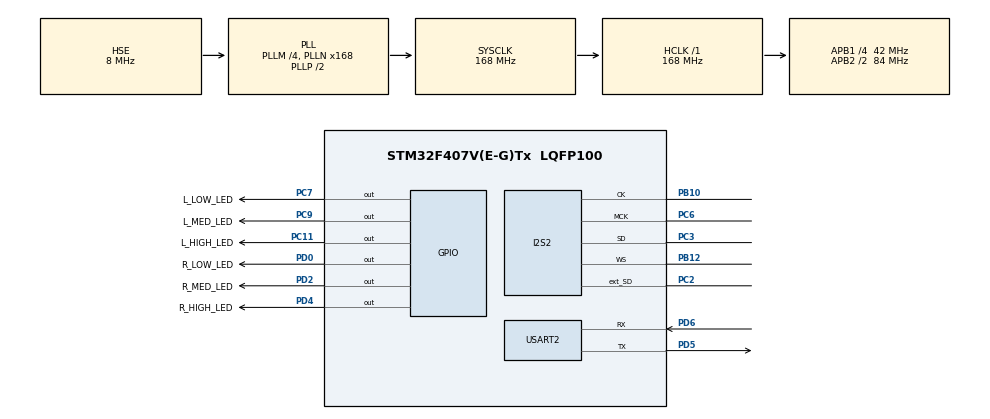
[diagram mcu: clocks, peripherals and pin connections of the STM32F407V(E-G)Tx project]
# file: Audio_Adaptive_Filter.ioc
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Dma.I2S2_EXT_RX.0.Direction=DMA_PERIPH_TO_MEMORY
Dma.I2S2_EXT_RX.0.FIFOMode=DMA_FIFOMODE_DISABLE
Dma.I2S2_EXT_RX.0.Instance=DMA1_Stream3
Dma.I2S2_EXT_RX.0.MemDataAlignment=DMA_MDATAALIGN_HALFWORD
Dma.I2S2_EXT_RX.0.MemInc=DMA_MINC_ENABLE
Dma.I2S2_EXT_RX.0.Mode=DMA_CIRCULAR
Dma.I2S2_EXT_RX.0.PeriphDataAlignment=DMA_PDATAALIGN_HALFWORD
Dma.I2S2_EXT_RX.0.PeriphInc=DMA_PINC_DISABLE
Dma.I2S2_EXT_RX.0.Priority=DMA_PRIORITY_VERY_HIGH
Dma.Request0=I2S2_EXT_RX
Dma.Request1=SPI2_TX
Dma.Request2=USART2_RX
Dma.SPI2_TX.1.Direction=DMA_MEMORY_TO_PERIPH
Dma.SPI2_TX.1.FIFOMode=DMA_FIFOMODE_DISABLE
Dma.SPI2_TX.1.Instance=DMA1_Stream4
Dma.SPI2_TX.1.MemDataAlignment=DMA_MDATAALIGN_HALFWORD
Dma.SPI2_TX.1.MemInc=DMA_MINC_ENABLE
Dma.SPI2_TX.1.Mode=DMA_CIRCULAR
Dma.SPI2_TX.1.PeriphDataAlignment=DMA_PDATAALIGN_HALFWORD
Dma.SPI2_TX.1.PeriphInc=DMA_PINC_DISABLE
Dma.SPI2_TX.1.Priority=DMA_PRIORITY_VERY_HIGH
Dma.USART2_RX.2.Direction=DMA_PERIPH_TO_MEMORY
Dma.USART2_RX.2.FIFOMode=DMA_FIFOMODE_DISABLE
Dma.USART2_RX.2.Instance=DMA1_Stream5
Dma.USART2_RX.2.MemDataAlignment=DMA_MDATAALIGN_BYTE
Dma.USART2_RX.2.MemInc=DMA_MINC_ENABLE
Dma.USART2_RX.2.Mode=DMA_CIRCULAR
Dma.USART2_RX.2.PeriphDataAlignment=DMA_PDATAALIGN_BYTE
Dma.USART2_RX.2.PeriphInc=DMA_PINC_DISABLE
Dma.USART2_RX.2.Priority=DMA_PRIORITY_LOW
I2S2.AudioFreq=I2S_AUDIOFREQ_48K
I2S2.DataFormat=I2S_DATAFORMAT_24B
I2S2.ErrorAudioFreq=-0.01 %
I2S2.FullDuplexMode=I2S_FULLDUPLEXMODE_ENABLE
I2S2.Instance=SPI$Index
I2S2.RealAudioFreq=47.991 KHz
I2S2.VirtualMode=I2S_MODE_MASTER
Mcu.Family=STM32F4
Mcu.Name=STM32F407V(E-G)Tx
Mcu.Package=LQFP100
NVIC.DMA1_Stream3_IRQn=true\:0\:0\:false\:false\:true\:false\:true\:true
NVIC.DMA1_Stream4_IRQn=true\:0\:0\:false\:false\:true\:false\:true\:true
NVIC.DMA1_Stream5_IRQn=true\:0\:0\:false\:false\:true\:false\:true\:true
NVIC.PriorityGroup=NVIC_PRIORITYGROUP_4
NVIC.USART2_IRQn=true\:0\:0\:false\:false\:true\:true\:true\:true
PA13.Mode=Serial_Wire
PA13.Signal=SYS_JTMS-SWDIO
PA14.Mode=Serial_Wire
PA14.Signal=SYS_JTCK-SWCLK
PB10.Mode=Full_Duplex_Master
PB10.Signal=I2S2_CK
PB12.Mode=Full_Duplex_Master
PB12.Signal=I2S2_WS
PC11.GPIO_Label=L_HIGH_LED
PC11.Signal=GPIO_Output
PC2.Mode=Full_Duplex_Master
PC2.Signal=I2S2_ext_SD
PC3.Mode=Full_Duplex_Master
PC3.Signal=I2S2_SD
PC6.Mode=Master_Clock_Activated
PC6.Signal=I2S2_MCK
PC7.GPIO_Label=L_LOW_LED
PC7.Signal=GPIO_Output
PC9.GPIO_Label=L_MED_LED
PC9.Signal=GPIO_Output
PD0.GPIO_Label=R_LOW_LED
PD0.Signal=GPIO_Output
PD2.GPIO_Label=R_MED_LED
PD2.Signal=GPIO_Output
PD4.GPIO_Label=R_HIGH_LED
PD4.Signal=GPIO_Output
PD5.Mode=Asynchronous
PD5.Signal=USART2_TX
PD6.Mode=Asynchronous
PD6.Signal=USART2_RX
PH0-OSC_IN.Mode=HSE-External-Oscillator
PH0-OSC_IN.Signal=RCC_OSC_IN
PH1-OSC_OUT.Mode=HSE-External-Oscillator
PH1-OSC_OUT.Signal=RCC_OSC_OUT
ProjectManager.HeapSize=0x200
ProjectManager.StackSize=0x400
ProjectManager.TargetToolchain=STM32CubeIDE
RCC.48MHZClocksFreq_Value=84000000
RCC.AHBFreq_Value=168000000
RCC.APB1CLKDivider=RCC_HCLK_DIV4
RCC.APB1Freq_Value=42000000
RCC.APB1TimFreq_Value=84000000
RCC.APB2CLKDivider=RCC_HCLK_DIV2
RCC.APB2Freq_Value=84000000
RCC.APB2TimFreq_Value=168000000
RCC.CortexFreq_Value=168000000
RCC.HCLKFreq_Value=168000000
RCC.HSE_VALUE=8000000
RCC.HSI_VALUE=16000000
RCC.LSE_VALUE=32768
RCC.PLLI2SN=86
RCC.PLLM=4
RCC.PLLN=168
RCC.PLLSourceVirtual=RCC_PLLSOURCE_HSE
RCC.SYSCLKFreq_VALUE=168000000
RCC.SYSCLKSource=RCC_SYSCLKSOURCE_PLLCLK
RCC.VCOOutputFreq_Value=336000000
USART2.VirtualMode=VM_ASYNC
board=custom

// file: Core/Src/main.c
/* USER CODE BEGIN Header */
/**
 ******************************************************************************
 * @file           : main.c
 * @brief          : Main program body
 ******************************************************************************
 * @attention
 *
 * Copyright (c) 2022 STMicroelectronics.
 * All rights reserved.
 *
 * This software is licensed under terms that can be found in the LICENSE file
 * in the root directory of this software component.
 * If no LICENSE file comes with this software, it is provided AS-IS.
 *
 ******************************************************************************
 */
/* USER CODE END Header */
#include "main.h"

/* USER CODE BEGIN Includes */

//CMSIS Library
#define ARM_MATH_CM4	//Must be defined here
#include "arm_math.h"

//FLASH Library
#include "MY_FLASH.h"

//Other includes
#include "math.h"
#include <string.h>
#include "stdio.h"
/* USER CODE END Includes */

/* USER CODE BEGIN PD */

//Numeric constants
#define CONST_MAX_INT 2147483648.0f	//2^31

//Machine state flags
#define STOP 0
#define ADAPT 1
#define FILTER 2
#define LOOPBACK 3

//Number of filter coefficients
#define FILTER_TAP_NUM 128

//Buffer size
#define BLOCK_SIZE_FLOAT 512
#define BLOCK_SIZE_U16 4*BLOCK_SIZE_FLOAT  //Since we are working with 2 channels, and each 32 bit word is divided in 2 words of 16 bits

//Vumeter levels
#define MAX_VOLUME_LEVEL 0.33f
#define HIGH_THRESHOLD 0.95*MAX_VOLUME_LEVEL
#define MED_THRESHOLD 0.18*MAX_VOLUME_LEVEL
#define LOW_THRESHOLD 0.01*MAX_VOLUME_LEVEL

//FLASH
#define FLASH_SECTOR 11
#define FLASH_START_ADRESS  0x080E0000

/* USER CODE END PD */

 I2S_HandleTypeDef hi2s2;
DMA_HandleTypeDef hdma_i2s2_ext_rx;
DMA_HandleTypeDef hdma_spi2_tx;

UART_HandleTypeDef huart2;
DMA_HandleTypeDef hdma_usart2_rx;

/* USER CODE BEGIN PV */

//Machine state variables
uint8_t state=STOP;

//I2S VARIABLES

uint16_t rxBuf[BLOCK_SIZE_U16 * 2];	//Input buffer
uint16_t txBuf[BLOCK_SIZE_U16 * 2];	//Output buffer
float l_buf_in[BLOCK_SIZE_FLOAT * 2];	//Float left input buffer
float r_buf_in[BLOCK_SIZE_FLOAT * 2];	//Float right input buffer
float l_buf_out[BLOCK_SIZE_FLOAT * 2];	//Float left output buffer
float r_buf_out[BLOCK_SIZE_FLOAT * 2];	//Float right output buffer
uint8_t callback_state = 0;	//Allows circular buffer

//I2S data pointers
int offset_r_ptr;	//uint_16 buffer read pointer
int offset_w_ptr, w_ptr;	//float buffer write pointer

//GENERAL FILTER VARIABLES

static float filter_taps[FILTER_TAP_NUM] = { 0 };	//Filter coefficients array

//ADAPTIVE FILTER VARIABLES

arm_lms_norm_instance_f32 adaptive_filter;	//Adaptive filter instance
float mu = 0.001f;	//Mu step of adaptive filter
float mse=0;	//Mean Square Error
float filter_state[BLOCK_SIZE_FLOAT + FILTER_TAP_NUM - 1];	//Adaptive filter state (size is always number_of_samples + number_of_fir_tabs - 1)

//FIR FILTER VARIABLES

arm_fir_instance_f32 firsettings_l, firsettings_r;
float fir_l_state[BLOCK_SIZE_FLOAT + FILTER_TAP_NUM - 1];	//Fir state size is always number_of_samples + number_of_fir_tabs - 1
float fir_r_state[BLOCK_SIZE_FLOAT + FILTER_TAP_NUM - 1];	//Fir state size is always number_of_samples + number_of_fir_tabs - 1

//UART VARIABLES

uint8_t uart_buffer_tx[16];	//UART Tx buffer
uint8_t uart_buffer_rx[32] = {0};	//UART Rx buffer
uint8_t received_command[] = "";
uint8_t rxByte;
uint16_t rxIdx;
uint8_t rxFlag;

float rms_test;

/* USER CODE END PV */

void SystemClock_Config(void);
static void MX_GPIO_Init(void);
static void MX_DMA_Init(void);
static void MX_I2S2_Init(void);
static void MX_USART2_UART_Init(void);
/* USER CODE BEGIN PFP */
void receiveString(void);
void interpretCommand(void);
void AudioProcess(void);
void TransmitCoefs(void);
void AdaptInit(void);
void FilterInit(void);
void Stop(void);
void Adapt(void);
void Filter(void);
void Loopback(void);
void vumeterR(void);
void vumeterL(void);
/* USER CODE END PFP */

int main(void)
{

  /* MCU Configuration--------------------------------------------------------*/

  /* Reset of all peripherals, Initializes the Flash interface and the Systick. */
  HAL_Init();

  /* Configure the system clock */
  SystemClock_Config();

  /* Initialize all configured peripherals */
  MX_GPIO_Init();
  MX_DMA_Init();
  MX_I2S2_Init();
  MX_USART2_UART_Init();
  /* USER CODE BEGIN 2 */

  //Wait for other devices to initialize
  HAL_Delay(1000);

  //Define FLASH area
  MY_FLASH_SetSectorAddrs(FLASH_SECTOR, FLASH_START_ADRESS);

  //Start i2s with 2048 samples transmission => 4096*u16 words
  HAL_I2SEx_TransmitReceive_DMA(&hi2s2, txBuf, rxBuf, BLOCK_SIZE_U16);

  //Start UART Rx
  __HAL_UART_FLUSH_DRREGISTER(&huart2);
  HAL_UART_Receive_DMA(&huart2, &rxByte, 1);

  /* USER CODE END 2 */

  /* Infinite loop */
  /* USER CODE BEGIN WHILE */
  while (1)
  {
	  if (callback_state != 0)
	  {
		  AudioProcess();
	  }

    /* USER CODE END WHILE */

	}
}

void SystemClock_Config(void)
{
  RCC_OscInitTypeDef RCC_OscInitStruct = {0};
  RCC_ClkInitTypeDef RCC_ClkInitStruct = {0};

  /** Configure the main internal regulator output voltage
  */
  __HAL_RCC_PWR_CLK_ENABLE();
  __HAL_PWR_VOLTAGESCALING_CONFIG(PWR_REGULATOR_VOLTAGE_SCALE1);

  /** Initializes the RCC Oscillators according to the specified parameters
  * in the RCC_OscInitTypeDef structure.
  */
  RCC_OscInitStruct.OscillatorType = RCC_OSCILLATORTYPE_HSE;
  RCC_OscInitStruct.HSEState = RCC_HSE_ON;
  RCC_OscInitStruct.PLL.PLLState = RCC_PLL_ON;
  RCC_OscInitStruct.PLL.PLLSource = RCC_PLLSOURCE_HSE;
  RCC_OscInitStruct.PLL.PLLM = 4;
  RCC_OscInitStruct.PLL.PLLN = 168;
  RCC_OscInitStruct.PLL.PLLP = RCC_PLLP_DIV2;
  RCC_OscInitStruct.PLL.PLLQ = 4;
  if (HAL_RCC_OscConfig(&RCC_OscInitStruct) != HAL_OK)
  {
    Error_Handler();
  }

  /** Initializes the CPU, AHB and APB buses clocks
  */
  RCC_ClkInitStruct.ClockType = RCC_CLOCKTYPE_HCLK|RCC_CLOCKTYPE_SYSCLK
                              |RCC_CLOCKTYPE_PCLK1|RCC_CLOCKTYPE_PCLK2;
  RCC_ClkInitStruct.SYSCLKSource = RCC_SYSCLKSOURCE_PLLCLK;
  RCC_ClkInitStruct.AHBCLKDivider = RCC_SYSCLK_DIV1;
  RCC_ClkInitStruct.APB1CLKDivider = RCC_HCLK_DIV4;
  RCC_ClkInitStruct.APB2CLKDivider = RCC_HCLK_DIV2;

  if (HAL_RCC_ClockConfig(&RCC_ClkInitStruct, FLASH_LATENCY_5) != HAL_OK)
  {
    Error_Handler();
  }
}

static void MX_I2S2_Init(void)
{

  hi2s2.Instance = SPI2;
  hi2s2.Init.Mode = I2S_MODE_MASTER_TX;
  hi2s2.Init.Standard = I2S_STANDARD_PHILIPS;
  hi2s2.Init.DataFormat = I2S_DATAFORMAT_24B;
  hi2s2.Init.MCLKOutput = I2S_MCLKOUTPUT_ENABLE;
  hi2s2.Init.AudioFreq = I2S_AUDIOFREQ_48K;
  hi2s2.Init.CPOL = I2S_CPOL_LOW;
  hi2s2.Init.ClockSource = I2S_CLOCK_PLL;
  hi2s2.Init.FullDuplexMode = I2S_FULLDUPLEXMODE_ENABLE;
  if (HAL_I2S_Init(&hi2s2) != HAL_OK)
  {
    Error_Handler();
  }

}

static void MX_USART2_UART_Init(void)
{

  huart2.Instance = USART2;
  huart2.Init.BaudRate = 115200;
  huart2.Init.WordLength = UART_WORDLENGTH_8B;
  huart2.Init.StopBits = UART_STOPBITS_1;
  huart2.Init.Parity = UART_PARITY_NONE;
  huart2.Init.Mode = UART_MODE_TX_RX;
  huart2.Init.HwFlowCtl = UART_HWCONTROL_NONE;
  huart2.Init.OverSampling = UART_OVERSAMPLING_16;
  if (HAL_UART_Init(&huart2) != HAL_OK)
  {
    Error_Handler();
  }

}

static void MX_DMA_Init(void)
{

  /* DMA controller clock enable */
  __HAL_RCC_DMA1_CLK_ENABLE();

  /* DMA interrupt init */
  /* DMA1_Stream3_IRQn interrupt configuration */
  HAL_NVIC_SetPriority(DMA1_Stream3_IRQn, 0, 0);
  HAL_NVIC_EnableIRQ(DMA1_Stream3_IRQn);
  /* DMA1_Stream4_IRQn interrupt configuration */
  HAL_NVIC_SetPriority(DMA1_Stream4_IRQn, 0, 0);
  HAL_NVIC_EnableIRQ(DMA1_Stream4_IRQn);
  /* DMA1_Stream5_IRQn interrupt configuration */
  HAL_NVIC_SetPriority(DMA1_Stream5_IRQn, 0, 0);
  HAL_NVIC_EnableIRQ(DMA1_Stream5_IRQn);

}

static void MX_GPIO_Init(void)
{
  GPIO_InitTypeDef GPIO_InitStruct = {0};

  /* GPIO Ports Clock Enable */
  __HAL_RCC_GPIOH_CLK_ENABLE();
  __HAL_RCC_GPIOC_CLK_ENABLE();
  __HAL_RCC_GPIOB_CLK_ENABLE();
  __HAL_RCC_GPIOA_CLK_ENABLE();
  __HAL_RCC_GPIOD_CLK_ENABLE();

  /*Configure GPIO pin Output Level */
  HAL_GPIO_WritePin(GPIOC, L_LOW_LED_Pin|L_MED_LED_Pin|L_HIGH_LED_Pin, GPIO_PIN_RESET);

  /*Configure GPIO pin Output Level */
  HAL_GPIO_WritePin(GPIOD, R_LOW_LED_Pin|R_MED_LED_Pin|R_HIGH_LED_Pin, GPIO_PIN_RESET);

  /*Configure GPIO pins : L_LOW_LED_Pin L_MED_LED_Pin L_HIGH_LED_Pin */
  GPIO_InitStruct.Pin = L_LOW_LED_Pin|L_MED_LED_Pin|L_HIGH_LED_Pin;
  GPIO_InitStruct.Mode = GPIO_MODE_OUTPUT_PP;
  GPIO_InitStruct.Pull = GPIO_NOPULL;
  GPIO_InitStruct.Speed = GPIO_SPEED_FREQ_LOW;
  HAL_GPIO_Init(GPIOC, &GPIO_InitStruct);

  /*Configure GPIO pins : R_LOW_LED_Pin R_MED_LED_Pin R_HIGH_LED_Pin */
  GPIO_InitStruct.Pin = R_LOW_LED_Pin|R_MED_LED_Pin|R_HIGH_LED_Pin;
  GPIO_InitStruct.Mode = GPIO_MODE_OUTPUT_PP;
  GPIO_InitStruct.Pull = GPIO_NOPULL;
  GPIO_InitStruct.Speed = GPIO_SPEED_FREQ_LOW;
  HAL_GPIO_Init(GPIOD, &GPIO_InitStruct);

}

/* USER CODE BEGIN 4 */
void HAL_I2SEx_TxRxHalfCpltCallback(I2S_HandleTypeDef *hi2s) {

	callback_state = 1;
}

void HAL_I2SEx_TxRxCpltCallback(I2S_HandleTypeDef *hi2s) {

	callback_state = 2;
}

void HAL_UART_TxCpltCallback(UART_HandleTypeDef *huart)
{
	if (state==ADAPT)
	{
		sprintf((char *)uart_buffer_tx,"&%.5f#\n",mse);	//Copy new MSE in UART buffer
		HAL_UART_Transmit_IT(&huart2, uart_buffer_tx, strlen((char *) uart_buffer_tx));
	}
}

void HAL_UART_RxCpltCallback(UART_HandleTypeDef *huart)
{
	if (huart->Instance == USART2) {
		__HAL_UART_FLUSH_DRREGISTER(&huart2);
		if (rxByte == '#' || rxIdx >= 31)
		{
			uart_buffer_rx[rxIdx] = rxByte;
			receiveString();
			interpretCommand();
			for (int i = 0; i < 24; i++)
				uart_buffer_rx[i] = 0;
			rxIdx = 0;
		}
		else
		{
			uart_buffer_rx[rxIdx] = rxByte;
			rxIdx++;
		}
	}
}

void receiveString()
{
	char *p1, *p2;
	p1 = strstr((char*)uart_buffer_rx, "%");
	if (p1) {
		p2 = strstr(p1, "#");
		if (p2)
			snprintf((char*)received_command, p2 - p1 + 1, "%.*s", (int) (p2 - p1 - 1), (p1 + 1));
	}
}

void interpretCommand()
{
    if (strcmp((char*)received_command,"ST")==0)
    {
    	state=STOP;
    }
    else if (strcmp((char*)received_command,"AF")==0)
    {
    	mu=0.001f;
    	AdaptInit();
    	state=ADAPT;
    }
    else if (strcmp((char*)received_command,"AS")==0)
    {
    	mu=0.0001f;
		AdaptInit();
		state=ADAPT;
    }
    else if (strcmp((char*)received_command,"SV")==0)
	{
    	MY_FLASH_WriteN(0, filter_taps, FILTER_TAP_NUM, DATA_TYPE_32);
	}
    else if (strcmp((char*)received_command,"FI")==0)
    {
    	state=FILTER;
    	FilterInit();
    }
    else if (strcmp((char*)received_command,"LB")==0)
	{
		state=LOOPBACK;
	}
}

void AdaptInit()
{
	mse=0;

	for (int i=0; i<FILTER_TAP_NUM; i++)
	{
		filter_taps[i]=0;
	}

	//Init adaptive filter structure
	arm_lms_norm_init_f32(&adaptive_filter, FILTER_TAP_NUM, &filter_taps[0], &filter_state[0], mu, BLOCK_SIZE_FLOAT);

	//Initiate MSE transmission
	sprintf((char *)uart_buffer_tx,"&%.5f#\n",mse);
	HAL_UART_Transmit_IT(&huart2, uart_buffer_tx, strlen((char *) uart_buffer_tx));
}

void FilterInit()
{
	//Read filter stored value
	MY_FLASH_ReadN(0, filter_taps, FILTER_TAP_NUM, DATA_TYPE_32);

	//Init FIR structure
	arm_fir_init_f32(&firsettings_l, FILTER_TAP_NUM, &filter_taps[0], &fir_l_state[0], BLOCK_SIZE_FLOAT);
	arm_fir_init_f32(&firsettings_r, FILTER_TAP_NUM, &filter_taps[0], &fir_r_state[0], BLOCK_SIZE_FLOAT);
}

void AudioProcess()
{
	//Decide if it was half or cplt callback
	if (callback_state == 1)	//First half of the buffer
	{
		offset_r_ptr = 0;
		offset_w_ptr = 0;
		w_ptr = 0;
	}
	else if (callback_state == 2) 	//Second half of the buffer
	{
		offset_r_ptr = BLOCK_SIZE_U16;
		offset_w_ptr = BLOCK_SIZE_FLOAT;
		w_ptr = BLOCK_SIZE_FLOAT;
	}

	//Restore input sample buffer to float array
	for (int i = offset_r_ptr; i < offset_r_ptr + BLOCK_SIZE_U16; i = i + 4)
	{
		l_buf_in[w_ptr] = ((float) ((int) (rxBuf[i] << 16) | rxBuf[i + 1]))/CONST_MAX_INT;
		r_buf_in[w_ptr] = ((float) ((int) (rxBuf[i + 2] << 16) | rxBuf[i + 3]))/CONST_MAX_INT;
		w_ptr++;
	}

	vumeterR();
	vumeterL();
	arm_rms_f32 (&l_buf_in[offset_w_ptr], BLOCK_SIZE_FLOAT, &rms_test);

	switch (state)
	{
	case STOP: Stop();
		break;
	case ADAPT:	Adapt();
		break;
	case FILTER: Filter();
		break;
	case LOOPBACK: Loopback();
		break;
	default:
		break;
	}

	//Restore processed float-array to output sample-buffer
	w_ptr = offset_w_ptr;

	//Write I2S output buffer
	for (int i = offset_r_ptr; i < offset_r_ptr + BLOCK_SIZE_U16; i = i + 4)
	{
		l_buf_out[w_ptr]=l_buf_out[w_ptr]*CONST_MAX_INT;
		r_buf_out[w_ptr]=r_buf_out[w_ptr]*CONST_MAX_INT;

		txBuf[i] = (((int) l_buf_out[w_ptr]) >> 16) & 0xFFFF;
		txBuf[i + 1] = ((int) l_buf_out[w_ptr]) & 0xFFFF;
		txBuf[i + 2] = (((int) r_buf_out[w_ptr]) >> 16) & 0xFFFF;
		txBuf[i + 3] = ((int) r_buf_out[w_ptr]) & 0xFFFF;
		w_ptr++;
	}

	callback_state = 0;
}

void Stop()
{
	for (int i=offset_w_ptr; i<offset_w_ptr+BLOCK_SIZE_FLOAT; i=i+1)
		{
			l_buf_out[i]=0;
			r_buf_out[i]=0;
		}
}

void Adapt()
{
	//Adaptive Filter

	//right In  --> input signal (x)
	//left In   --> desired signal (d)
	//right Out --> output signal (y)
	//left Out  --> error signal (e)

	//arm_lms_f32 (const arm_lms_instance_f32 *S, const float32_t *pSrc, float32_t *pRef, float32_t *pOut, float32_t *pErr, uint32_t blockSize)

	arm_lms_norm_f32(&adaptive_filter, &r_buf_in[offset_w_ptr], &l_buf_in[offset_w_ptr], &r_buf_out[offset_w_ptr], &l_buf_out[offset_w_ptr], BLOCK_SIZE_FLOAT);

	//MSE calculation

	mse=0;
	for (int i=offset_w_ptr; i<offset_w_ptr+BLOCK_SIZE_FLOAT; i=i+1)
	{
		mse=mse+((float)l_buf_out[i]*(float)l_buf_out[i]);
	}
	mse=mse/(float)BLOCK_SIZE_FLOAT;
}

void Filter()
{
	//FIR
	arm_fir_f32 (&firsettings_l, &l_buf_in[offset_w_ptr], &l_buf_out[offset_w_ptr],BLOCK_SIZE_FLOAT);
	arm_fir_f32 (&firsettings_r, &r_buf_in[offset_w_ptr], &r_buf_out[offset_w_ptr],BLOCK_SIZE_FLOAT);
}

void Loopback()
{
	for (int i=offset_w_ptr; i<offset_w_ptr+BLOCK_SIZE_FLOAT; i=i+1)
		{
			l_buf_out[i]=l_buf_in[i];
			r_buf_out[i]=r_buf_in[i];
		}
}

void vumeterR()
{
	float rms_value;
	arm_rms_f32 (&r_buf_in[offset_w_ptr], BLOCK_SIZE_FLOAT, &rms_value);

	if (rms_value>=LOW_THRESHOLD && rms_value<MED_THRESHOLD)
		{
			HAL_GPIO_WritePin(GPIOD, R_LOW_LED_Pin, GPIO_PIN_SET);
			HAL_GPIO_WritePin(GPIOD, R_MED_LED_Pin, GPIO_PIN_RESET);
			HAL_GPIO_WritePin(GPIOD, R_HIGH_LED_Pin, GPIO_PIN_RESET);
		}
		else if (rms_value>=MED_THRESHOLD && rms_value<HIGH_THRESHOLD)
		{
			HAL_GPIO_WritePin(GPIOD, R_LOW_LED_Pin, GPIO_PIN_SET);
			HAL_GPIO_WritePin(GPIOD, R_MED_LED_Pin, GPIO_PIN_SET);
			HAL_GPIO_WritePin(GPIOD, R_HIGH_LED_Pin, GPIO_PIN_RESET);
		}
		else if (rms_value>=HIGH_THRESHOLD)
		{
			HAL_GPIO_WritePin(GPIOD, R_LOW_LED_Pin, GPIO_PIN_SET);
			HAL_GPIO_WritePin(GPIOD, R_MED_LED_Pin, GPIO_PIN_SET);
			HAL_GPIO_WritePin(GPIOD, R_HIGH_LED_Pin, GPIO_PIN_SET);
		}
		else
		{
			HAL_GPIO_WritePin(GPIOD, R_LOW_LED_Pin, GPIO_PIN_RESET);
			HAL_GPIO_WritePin(GPIOD, R_MED_LED_Pin, GPIO_PIN_RESET);
			HAL_GPIO_WritePin(GPIOD, R_HIGH_LED_Pin, GPIO_PIN_RESET);
		}
}

void vumeterL()
{
	float rms_value;
	arm_rms_f32 (&l_buf_in[offset_w_ptr], BLOCK_SIZE_FLOAT, &rms_value);

	if (rms_value>=LOW_THRESHOLD && rms_value<MED_THRESHOLD)
	{
		HAL_GPIO_WritePin(GPIOC, L_LOW_LED_Pin, GPIO_PIN_SET);
		HAL_GPIO_WritePin(GPIOC, L_MED_LED_Pin, GPIO_PIN_RESET);
		HAL_GPIO_WritePin(GPIOC, L_HIGH_LED_Pin, GPIO_PIN_RESET);
	}
	else if (rms_value>=MED_THRESHOLD && rms_value<HIGH_THRESHOLD)
	{
		HAL_GPIO_WritePin(GPIOC, L_LOW_LED_Pin, GPIO_PIN_SET);
		HAL_GPIO_WritePin(GPIOC, L_MED_LED_Pin, GPIO_PIN_SET);
		HAL_GPIO_WritePin(GPIOC, L_HIGH_LED_Pin, GPIO_PIN_RESET);
	}
	else if (rms_value>=HIGH_THRESHOLD)
	{
		HAL_GPIO_WritePin(GPIOC, L_LOW_LED_Pin, GPIO_PIN_SET);
		HAL_GPIO_WritePin(GPIOC, L_MED_LED_Pin, GPIO_PIN_SET);
		HAL_GPIO_WritePin(GPIOC, L_HIGH_LED_Pin, GPIO_PIN_SET);
	}
	else
	{
		HAL_GPIO_WritePin(GPIOC, L_LOW_LED_Pin, GPIO_PIN_RESET);
		HAL_GPIO_WritePin(GPIOC, L_MED_LED_Pin, GPIO_PIN_RESET);
		HAL_GPIO_WritePin(GPIOC, L_HIGH_LED_Pin, GPIO_PIN_RESET);
	}
}

/* USER CODE END 4 */

void Error_Handler(void)
{
	__disable_irq();
	while (1) {
	}
}
